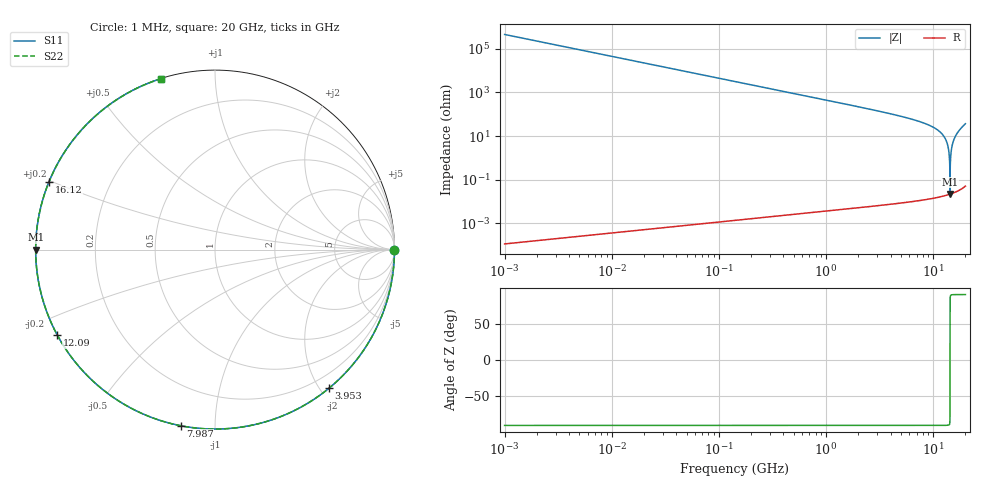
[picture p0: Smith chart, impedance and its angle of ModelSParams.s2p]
# GHZ S RI R 50
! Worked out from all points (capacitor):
!   10001 points, 1 MHz to 20 GHz, reference 50 ohm
!   read as one part to ground: C = 357 fF near 101 MHz
!   lowest |Z| = 22.5 mohm at 14.37 GHz (marker M1)
!   series resonance near 14.37 GHz, so ESL is about 340 pH
!   S11 on the Smith chart (normalised r, x): 1 MHz: open; 3.953 GHz: 0.00, -2.12; 7.987 GHz: 0.00, -0.82; 12.09 GHz: 0.00, -0.25; 16.12 GHz: 0.00, +0.20; 20 GHz: 0.00, +0.74
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0.001  1 -0.000224  0 0  0 0  1 -0.000224
0.807  0.9837 -0.1798  0 0  0 0  0.9837 -0.1798
1.623  0.9347 -0.3555  0 0  0 0  0.9347 -0.3555
2.461  0.8522 -0.5232  0 0  0 0  0.8522 -0.5232
3.335  0.735 -0.678  0 0  0 0  0.735 -0.678
3.953  0.6356 -0.772  0 0  0 0  0.6356 -0.772
5.333  0.3752 -0.9268  0 0  0 0  0.3752 -0.9268
6.669  0.0926 -0.9955  0 0  0 0  0.0926 -0.9955
7.987  -0.1917 -0.9812  0 0  0 0  -0.1917 -0.9812
8.977  -0.3952 -0.9182  0 0  0 0  -0.3952 -0.9182
10.001  -0.5861 -0.8097  0 0  0 0  -0.5861 -0.8097
11.077  -0.7559 -0.6538  0 0  0 0  -0.7559 -0.6538
12.087  -0.879 -0.4755  0 0  0 0  -0.879 -0.4755
13.335  -0.9738 -0.2241  0 0  0 0  -0.9738 -0.2241
14.373  -0.9991 -0.000185  0 0  0 0  -0.9991 -0.000185
15.247  -0.9807 0.1903  0 0  0 0  -0.9807 0.1903
16.125  -0.9254 0.3763  0 0  0 0  -0.9254 0.3763
16.669  -0.8729 0.4856  0 0  0 0  -0.8729 0.4856
17.541  -0.7614 0.6465  0 0  0 0  -0.7614 0.6465
18.453  -0.6118 0.7895  0 0  0 0  -0.6118 0.7895
19.267  -0.4542 0.8895  0 0  0 0  -0.4542 0.8895
20.001  -0.2971 0.9535  0 0  0 0  -0.2971 0.9535
